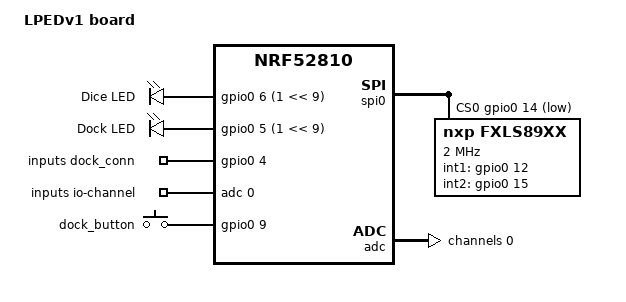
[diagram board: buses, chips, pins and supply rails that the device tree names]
/dts-v1/;
#include <nordic/nrf52810_qfaa.dtsi>
#include "lpedv1-pinctrl.dtsi"

/ {
	model = "LPEDv1 board";
	compatible = "lped,lpedv1";

	chosen {
		zephyr,sram = &sram0;
		zephyr,flash = &flash0;
		zephyr,code-partition = &slot0_partition;
	};

	leds {
		compatible = "gpio-leds";
		diceled: dice_led {
			gpios = <&gpio0 6 (1 << 9)>;
			label = "Dice LED";
		};

		dockled: dock_led {
			gpios = <&gpio0 5 (1 << 9)>;
			label = "Dock LED";
		};
	};

	inputs: zephyr,user {
		dock_conn-gpios = <&gpio0 4 GPIO_PULL_DOWN>;
		io-channels = <&adc 0>;
	};

	buttons {
		compatible = "gpio-keys";
		dockbutton: dock_button {
			gpios = <&gpio0 9 GPIO_PULL_DOWN>;
			label = "dock_button";
		};
	};
};

&gpio0 {
	status = "okay";
};

&gpiote {
	status = "okay";
};

&spi0 {
	status = "okay";
	compatible = "nordic,nrf-spi";
	pinctrl-0 = <&spi0_default>;
	pinctrl-1 = <&spi0_sleep>;
	pinctrl-names = "default", "sleep";
	cs-gpios = <&gpio0 14 GPIO_ACTIVE_LOW>;
	fxls89xx: fxls89xx@0 {
		zephyr,pm-device-runtime-auto;
		compatible = "nxp,fxls89xx";
		reg = <0x0>;
		spi-max-frequency = <2000000>;
		int1-gpios = <&gpio0 12 GPIO_PULL_UP>;
		int2-gpios = <&gpio0 15 GPIO_PULL_UP>;
	};
};

&adc {
	status = "okay";
	#address-cells = <1>;
	#size-cells = <0>;
	channel@0 {
		reg = <0>;
		zephyr,gain = "ADC_GAIN_1_6";			// Gain of 1/6 with internal reference (0.6V) results in range of +-3.6V
		zephyr,reference = "ADC_REF_INTERNAL";
		zephyr,acquisition-time = <ADC_ACQ_TIME_DEFAULT>;
		zephyr,input-positive = <NRF_SAADC_AIN6>;
		zephyr,resolution = <12>;
	};
};


&flash0 {
	partitions {
		compatible = "fixed-partitions";
		#address-cells = <1>;
		#size-cells = <1>;

		boot_partition: partition@0 {
			label = "mcuboot";
			reg = <0x00000000 DT_SIZE_K(48)>;
		};

		slot0_partition: partition@c000 {
			label = "image-0";
			reg = <0x0000c000 DT_SIZE_K(56)>;
		};

		slot1_partition: partition@1a000 {
			label = "image-1";
			reg = <0x0001a000 DT_SIZE_K(56)>;
		};

		storage_partition: partition@28000 {
			label = "storage";
			reg = <0x00028000 DT_SIZE_K(32)>;
		};
	};
};
